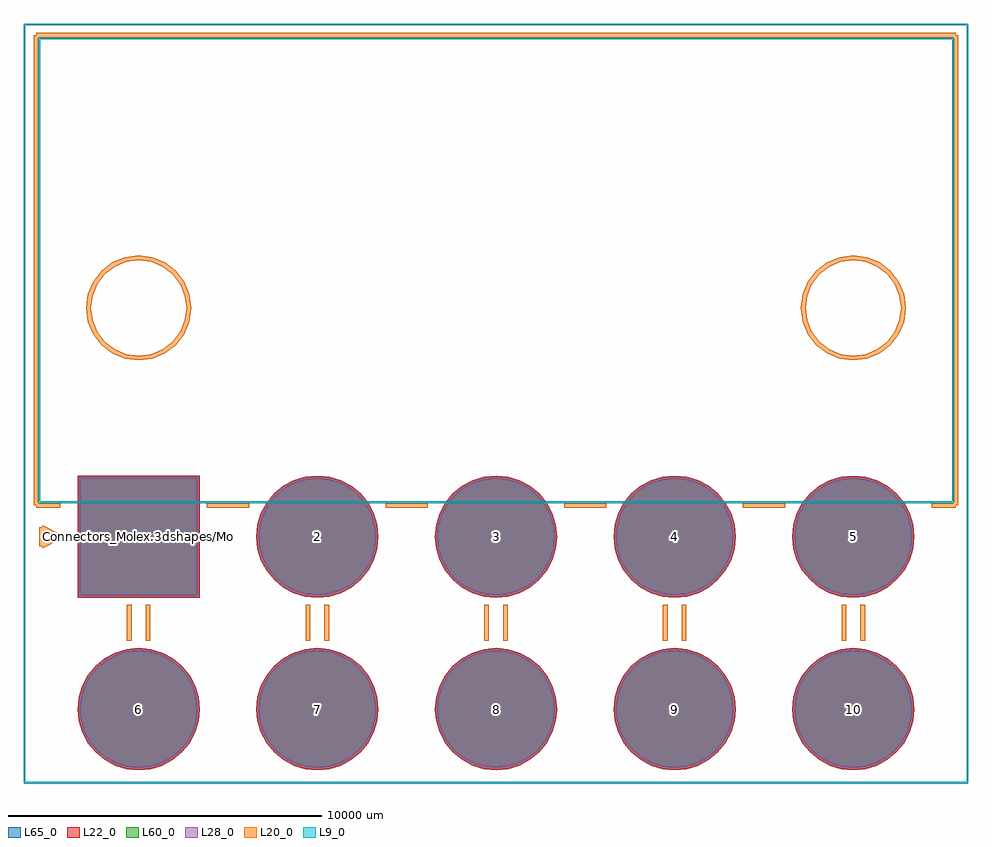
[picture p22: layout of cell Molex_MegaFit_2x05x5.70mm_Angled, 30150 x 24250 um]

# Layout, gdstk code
import gdstk
lib = gdstk.Library(unit=1e-6, precision=1e-09)
def R(c, l, rs):  # rectangles x0, y0, x1, y1
    for r in rs: c.add(gdstk.rectangle(r[:2], r[2:], *l))
def P(c, l, *ps):  # polygons
    for p in ps: c.add(gdstk.Polygon(p, *l))
L9_0 = (9, 0)
L20_0 = (20, 0)
L22_0 = (22, 0)
L28_0 = (28, 0)
L60_0 = (60, 0)
L65_0 = (65, 0)

molex_megafit_2x05x5_70m = lib.new_cell('Molex_MegaFit_2x05x5.70mm_Angled')
R(molex_megafit_2x05x5_70m, L22_0, [(-1950,-1950,1950,1950)])
P(molex_megafit_2x05x5_70m, L22_0, [(24750,-5500),(24712.531,-5119.574),(24601.565,-4753.767),(24421.366,-4416.638),(24178.858,-4121.142),(23883.362,-3878.634),(23546.233,-3698.435),(23180.426,-3587.469),(22800,-3550),(22419.574,-3587.469),(22053.767,-3698.435),(21716.638,-3878.634),(21421.142,-4121.142),(21178.634,-4416.638),(20998.435,-4753.767),(20887.469,-5119.574),(20850,-5500),(20887.469,-5880.426),(20998.435,-6246.233),(21178.634,-6583.362),(21421.142,-6878.858),(21716.638,-7121.366),(22053.767,-7301.565),(22419.574,-7412.531),(22800,-7450),(23180.426,-7412.531),(23546.233,-7301.565),(23883.362,-7121.366),(24178.858,-6878.858),(24421.366,-6583.362),(24601.565,-6246.233),(24712.531,-5880.426)],
  [(19050,-5500),(19012.531,-5119.574),(18901.565,-4753.767),(18721.366,-4416.638),(18478.858,-4121.142),(18183.362,-3878.634),(17846.233,-3698.435),(17480.426,-3587.469),(17100,-3550),(16719.574,-3587.469),(16353.767,-3698.435),(16016.638,-3878.634),(15721.142,-4121.142),(15478.634,-4416.638),(15298.435,-4753.767),(15187.469,-5119.574),(15150,-5500),(15187.469,-5880.426),(15298.435,-6246.233),(15478.634,-6583.362),(15721.142,-6878.858),(16016.638,-7121.366),(16353.767,-7301.565),(16719.574,-7412.531),(17100,-7450),(17480.426,-7412.531),(17846.233,-7301.565),(18183.362,-7121.366),(18478.858,-6878.858),(18721.366,-6583.362),(18901.565,-6246.233),(19012.531,-5880.426)],
  [(13350,-5500),(13312.531,-5119.574),(13201.565,-4753.767),(13021.366,-4416.638),(12778.858,-4121.142),(12483.362,-3878.634),(12146.233,-3698.435),(11780.426,-3587.469),(11400,-3550),(11019.574,-3587.469),(10653.767,-3698.435),(10316.638,-3878.634),(10021.142,-4121.142),(9778.634,-4416.638),(9598.435,-4753.767),(9487.469,-5119.574),(9450,-5500),(9487.469,-5880.426),(9598.435,-6246.233),(9778.634,-6583.362),(10021.142,-6878.858),(10316.638,-7121.366),(10653.767,-7301.565),(11019.574,-7412.531),(11400,-7450),(11780.426,-7412.531),(12146.233,-7301.565),(12483.362,-7121.366),(12778.858,-6878.858),(13021.366,-6583.362),(13201.565,-6246.233),(13312.531,-5880.426)],
  [(7650,-5500),(7612.531,-5119.574),(7501.565,-4753.767),(7321.366,-4416.638),(7078.858,-4121.142),(6783.362,-3878.634),(6446.233,-3698.435),(6080.426,-3587.469),(5700,-3550),(5319.574,-3587.469),(4953.767,-3698.435),(4616.638,-3878.634),(4321.142,-4121.142),(4078.634,-4416.638),(3898.435,-4753.767),(3787.469,-5119.574),(3750,-5500),(3787.469,-5880.426),(3898.435,-6246.233),(4078.634,-6583.362),(4321.142,-6878.858),(4616.638,-7121.366),(4953.767,-7301.565),(5319.574,-7412.531),(5700,-7450),(6080.426,-7412.531),(6446.233,-7301.565),(6783.362,-7121.366),(7078.858,-6878.858),(7321.366,-6583.362),(7501.565,-6246.233),(7612.531,-5880.426)],
  [(1950,-5500),(1912.531,-5119.574),(1801.565,-4753.767),(1621.366,-4416.638),(1378.858,-4121.142),(1083.362,-3878.634),(746.233,-3698.435),(380.426,-3587.469),(0,-3550),(-380.426,-3587.469),(-746.233,-3698.435),(-1083.362,-3878.634),(-1378.858,-4121.142),(-1621.366,-4416.638),(-1801.565,-4753.767),(-1912.531,-5119.574),(-1950,-5500),(-1912.531,-5880.426),(-1801.565,-6246.233),(-1621.366,-6583.362),(-1378.858,-6878.858),(-1083.362,-7121.366),(-746.233,-7301.565),(-380.426,-7412.531),(0,-7450),(380.426,-7412.531),(746.233,-7301.565),(1083.362,-7121.366),(1378.858,-6878.858),(1621.366,-6583.362),(1801.565,-6246.233),(1912.531,-5880.426)],
  [(24750,0),(24712.531,380.426),(24601.565,746.233),(24421.366,1083.362),(24178.858,1378.858),(23883.362,1621.366),(23546.233,1801.565),(23180.426,1912.531),(22800,1950),(22419.574,1912.531),(22053.767,1801.565),(21716.638,1621.366),(21421.142,1378.858),(21178.634,1083.362),(20998.435,746.233),(20887.469,380.426),(20850,0),(20887.469,-380.426),(20998.435,-746.233),(21178.634,-1083.362),(21421.142,-1378.858),(21716.638,-1621.366),(22053.767,-1801.565),(22419.574,-1912.531),(22800,-1950),(23180.426,-1912.531),(23546.233,-1801.565),(23883.362,-1621.366),(24178.858,-1378.858),(24421.366,-1083.362),(24601.565,-746.233),(24712.531,-380.426)],
  [(19050,0),(19012.531,380.426),(18901.565,746.233),(18721.366,1083.362),(18478.858,1378.858),(18183.362,1621.366),(17846.233,1801.565),(17480.426,1912.531),(17100,1950),(16719.574,1912.531),(16353.767,1801.565),(16016.638,1621.366),(15721.142,1378.858),(15478.634,1083.362),(15298.435,746.233),(15187.469,380.426),(15150,0),(15187.469,-380.426),(15298.435,-746.233),(15478.634,-1083.362),(15721.142,-1378.858),(16016.638,-1621.366),(16353.767,-1801.565),(16719.574,-1912.531),(17100,-1950),(17480.426,-1912.531),(17846.233,-1801.565),(18183.362,-1621.366),(18478.858,-1378.858),(18721.366,-1083.362),(18901.565,-746.233),(19012.531,-380.426)],
  [(13350,0),(13312.531,380.426),(13201.565,746.233),(13021.366,1083.362),(12778.858,1378.858),(12483.362,1621.366),(12146.233,1801.565),(11780.426,1912.531),(11400,1950),(11019.574,1912.531),(10653.767,1801.565),(10316.638,1621.366),(10021.142,1378.858),(9778.634,1083.362),(9598.435,746.233),(9487.469,380.426),(9450,0),(9487.469,-380.426),(9598.435,-746.233),(9778.634,-1083.362),(10021.142,-1378.858),(10316.638,-1621.366),(10653.767,-1801.565),(11019.574,-1912.531),(11400,-1950),(11780.426,-1912.531),(12146.233,-1801.565),(12483.362,-1621.366),(12778.858,-1378.858),(13021.366,-1083.362),(13201.565,-746.233),(13312.531,-380.426)],
  [(7650,0),(7612.531,380.426),(7501.565,746.233),(7321.366,1083.362),(7078.858,1378.858),(6783.362,1621.366),(6446.233,1801.565),(6080.426,1912.531),(5700,1950),(5319.574,1912.531),(4953.767,1801.565),(4616.638,1621.366),(4321.142,1378.858),(4078.634,1083.362),(3898.435,746.233),(3787.469,380.426),(3750,0),(3787.469,-380.426),(3898.435,-746.233),(4078.634,-1083.362),(4321.142,-1378.858),(4616.638,-1621.366),(4953.767,-1801.565),(5319.574,-1912.531),(5700,-1950),(6080.426,-1912.531),(6446.233,-1801.565),(6783.362,-1621.366),(7078.858,-1378.858),(7321.366,-1083.362),(7501.565,-746.233),(7612.531,-380.426)])
R(molex_megafit_2x05x5_70m, L28_0, [(-1875,-1875,1875,1875)])
P(molex_megafit_2x05x5_70m, L28_0, [(24675,-5500),(24638.972,-5134.206),(24532.274,-4782.469),(24359.006,-4458.306),(24125.825,-4174.175),(23841.694,-3940.994),(23517.531,-3767.726),(23165.794,-3661.028),(22800,-3625),(22434.206,-3661.028),(22082.469,-3767.726),(21758.306,-3940.994),(21474.175,-4174.175),(21240.994,-4458.306),(21067.726,-4782.469),(20961.028,-5134.206),(20925,-5500),(20961.028,-5865.794),(21067.726,-6217.531),(21240.994,-6541.694),(21474.175,-6825.825),(21758.306,-7059.006),(22082.469,-7232.274),(22434.206,-7338.972),(22800,-7375),(23165.794,-7338.972),(23517.531,-7232.274),(23841.694,-7059.006),(24125.825,-6825.825),(24359.006,-6541.694),(24532.274,-6217.531),(24638.972,-5865.794)],
  [(18975,-5500),(18938.972,-5134.206),(18832.274,-4782.469),(18659.006,-4458.306),(18425.825,-4174.175),(18141.694,-3940.994),(17817.531,-3767.726),(17465.794,-3661.028),(17100,-3625),(16734.206,-3661.028),(16382.469,-3767.726),(16058.306,-3940.994),(15774.175,-4174.175),(15540.994,-4458.306),(15367.726,-4782.469),(15261.028,-5134.206),(15225,-5500),(15261.028,-5865.794),(15367.726,-6217.531),(15540.994,-6541.694),(15774.175,-6825.825),(16058.306,-7059.006),(16382.469,-7232.274),(16734.206,-7338.972),(17100,-7375),(17465.794,-7338.972),(17817.531,-7232.274),(18141.694,-7059.006),(18425.825,-6825.825),(18659.006,-6541.694),(18832.274,-6217.531),(18938.972,-5865.794)],
  [(13275,-5500),(13238.972,-5134.206),(13132.274,-4782.469),(12959.006,-4458.306),(12725.825,-4174.175),(12441.694,-3940.994),(12117.531,-3767.726),(11765.794,-3661.028),(11400,-3625),(11034.206,-3661.028),(10682.469,-3767.726),(10358.306,-3940.994),(10074.175,-4174.175),(9840.994,-4458.306),(9667.726,-4782.469),(9561.028,-5134.206),(9525,-5500),(9561.028,-5865.794),(9667.726,-6217.531),(9840.994,-6541.694),(10074.175,-6825.825),(10358.306,-7059.006),(10682.469,-7232.274),(11034.206,-7338.972),(11400,-7375),(11765.794,-7338.972),(12117.531,-7232.274),(12441.694,-7059.006),(12725.825,-6825.825),(12959.006,-6541.694),(13132.274,-6217.531),(13238.972,-5865.794)],
  [(7575,-5500),(7538.972,-5134.206),(7432.274,-4782.469),(7259.006,-4458.306),(7025.825,-4174.175),(6741.694,-3940.994),(6417.531,-3767.726),(6065.794,-3661.028),(5700,-3625),(5334.206,-3661.028),(4982.469,-3767.726),(4658.306,-3940.994),(4374.175,-4174.175),(4140.994,-4458.306),(3967.726,-4782.469),(3861.028,-5134.206),(3825,-5500),(3861.028,-5865.794),(3967.726,-6217.531),(4140.994,-6541.694),(4374.175,-6825.825),(4658.306,-7059.006),(4982.469,-7232.274),(5334.206,-7338.972),(5700,-7375),(6065.794,-7338.972),(6417.531,-7232.274),(6741.694,-7059.006),(7025.825,-6825.825),(7259.006,-6541.694),(7432.274,-6217.531),(7538.972,-5865.794)],
  [(1875,-5500),(1838.972,-5134.206),(1732.274,-4782.469),(1559.006,-4458.306),(1325.825,-4174.175),(1041.694,-3940.994),(717.531,-3767.726),(365.794,-3661.028),(0,-3625),(-365.794,-3661.028),(-717.531,-3767.726),(-1041.694,-3940.994),(-1325.825,-4174.175),(-1559.006,-4458.306),(-1732.274,-4782.469),(-1838.972,-5134.206),(-1875,-5500),(-1838.972,-5865.794),(-1732.274,-6217.531),(-1559.006,-6541.694),(-1325.825,-6825.825),(-1041.694,-7059.006),(-717.531,-7232.274),(-365.794,-7338.972),(0,-7375),(365.794,-7338.972),(717.531,-7232.274),(1041.694,-7059.006),(1325.825,-6825.825),(1559.006,-6541.694),(1732.274,-6217.531),(1838.972,-5865.794)],
  [(24675,0),(24638.972,365.794),(24532.274,717.531),(24359.006,1041.694),(24125.825,1325.825),(23841.694,1559.006),(23517.531,1732.274),(23165.794,1838.972),(22800,1875),(22434.206,1838.972),(22082.469,1732.274),(21758.306,1559.006),(21474.175,1325.825),(21240.994,1041.694),(21067.726,717.531),(20961.028,365.794),(20925,0),(20961.028,-365.794),(21067.726,-717.531),(21240.994,-1041.694),(21474.175,-1325.825),(21758.306,-1559.006),(22082.469,-1732.274),(22434.206,-1838.972),(22800,-1875),(23165.794,-1838.972),(23517.531,-1732.274),(23841.694,-1559.006),(24125.825,-1325.825),(24359.006,-1041.694),(24532.274,-717.531),(24638.972,-365.794)],
  [(18975,0),(18938.972,365.794),(18832.274,717.531),(18659.006,1041.694),(18425.825,1325.825),(18141.694,1559.006),(17817.531,1732.274),(17465.794,1838.972),(17100,1875),(16734.206,1838.972),(16382.469,1732.274),(16058.306,1559.006),(15774.175,1325.825),(15540.994,1041.694),(15367.726,717.531),(15261.028,365.794),(15225,0),(15261.028,-365.794),(15367.726,-717.531),(15540.994,-1041.694),(15774.175,-1325.825),(16058.306,-1559.006),(16382.469,-1732.274),(16734.206,-1838.972),(17100,-1875),(17465.794,-1838.972),(17817.531,-1732.274),(18141.694,-1559.006),(18425.825,-1325.825),(18659.006,-1041.694),(18832.274,-717.531),(18938.972,-365.794)],
  [(13275,0),(13238.972,365.794),(13132.274,717.531),(12959.006,1041.694),(12725.825,1325.825),(12441.694,1559.006),(12117.531,1732.274),(11765.794,1838.972),(11400,1875),(11034.206,1838.972),(10682.469,1732.274),(10358.306,1559.006),(10074.175,1325.825),(9840.994,1041.694),(9667.726,717.531),(9561.028,365.794),(9525,0),(9561.028,-365.794),(9667.726,-717.531),(9840.994,-1041.694),(10074.175,-1325.825),(10358.306,-1559.006),(10682.469,-1732.274),(11034.206,-1838.972),(11400,-1875),(11765.794,-1838.972),(12117.531,-1732.274),(12441.694,-1559.006),(12725.825,-1325.825),(12959.006,-1041.694),(13132.274,-717.531),(13238.972,-365.794)],
  [(7575,0),(7538.972,365.794),(7432.274,717.531),(7259.006,1041.694),(7025.825,1325.825),(6741.694,1559.006),(6417.531,1732.274),(6065.794,1838.972),(5700,1875),(5334.206,1838.972),(4982.469,1732.274),(4658.306,1559.006),(4374.175,1325.825),(4140.994,1041.694),(3967.726,717.531),(3861.028,365.794),(3825,0),(3861.028,-365.794),(3967.726,-717.531),(4140.994,-1041.694),(4374.175,-1325.825),(4658.306,-1559.006),(4982.469,-1732.274),(5334.206,-1838.972),(5700,-1875),(6065.794,-1838.972),(6417.531,-1732.274),(6741.694,-1559.006),(7025.825,-1325.825),(7259.006,-1041.694),(7432.274,-717.531),(7538.972,-365.794)])
R(molex_megafit_2x05x5_70m, L60_0, [(-1875,-1875,1875,1875)])
P(molex_megafit_2x05x5_70m, L60_0, [(24675,-5500),(24638.972,-5134.206),(24532.274,-4782.469),(24359.006,-4458.306),(24125.825,-4174.175),(23841.694,-3940.994),(23517.531,-3767.726),(23165.794,-3661.028),(22800,-3625),(22434.206,-3661.028),(22082.469,-3767.726),(21758.306,-3940.994),(21474.175,-4174.175),(21240.994,-4458.306),(21067.726,-4782.469),(20961.028,-5134.206),(20925,-5500),(20961.028,-5865.794),(21067.726,-6217.531),(21240.994,-6541.694),(21474.175,-6825.825),(21758.306,-7059.006),(22082.469,-7232.274),(22434.206,-7338.972),(22800,-7375),(23165.794,-7338.972),(23517.531,-7232.274),(23841.694,-7059.006),(24125.825,-6825.825),(24359.006,-6541.694),(24532.274,-6217.531),(24638.972,-5865.794)],
  [(18975,-5500),(18938.972,-5134.206),(18832.274,-4782.469),(18659.006,-4458.306),(18425.825,-4174.175),(18141.694,-3940.994),(17817.531,-3767.726),(17465.794,-3661.028),(17100,-3625),(16734.206,-3661.028),(16382.469,-3767.726),(16058.306,-3940.994),(15774.175,-4174.175),(15540.994,-4458.306),(15367.726,-4782.469),(15261.028,-5134.206),(15225,-5500),(15261.028,-5865.794),(15367.726,-6217.531),(15540.994,-6541.694),(15774.175,-6825.825),(16058.306,-7059.006),(16382.469,-7232.274),(16734.206,-7338.972),(17100,-7375),(17465.794,-7338.972),(17817.531,-7232.274),(18141.694,-7059.006),(18425.825,-6825.825),(18659.006,-6541.694),(18832.274,-6217.531),(18938.972,-5865.794)],
  [(13275,-5500),(13238.972,-5134.206),(13132.274,-4782.469),(12959.006,-4458.306),(12725.825,-4174.175),(12441.694,-3940.994),(12117.531,-3767.726),(11765.794,-3661.028),(11400,-3625),(11034.206,-3661.028),(10682.469,-3767.726),(10358.306,-3940.994),(10074.175,-4174.175),(9840.994,-4458.306),(9667.726,-4782.469),(9561.028,-5134.206),(9525,-5500),(9561.028,-5865.794),(9667.726,-6217.531),(9840.994,-6541.694),(10074.175,-6825.825),(10358.306,-7059.006),(10682.469,-7232.274),(11034.206,-7338.972),(11400,-7375),(11765.794,-7338.972),(12117.531,-7232.274),(12441.694,-7059.006),(12725.825,-6825.825),(12959.006,-6541.694),(13132.274,-6217.531),(13238.972,-5865.794)],
  [(7575,-5500),(7538.972,-5134.206),(7432.274,-4782.469),(7259.006,-4458.306),(7025.825,-4174.175),(6741.694,-3940.994),(6417.531,-3767.726),(6065.794,-3661.028),(5700,-3625),(5334.206,-3661.028),(4982.469,-3767.726),(4658.306,-3940.994),(4374.175,-4174.175),(4140.994,-4458.306),(3967.726,-4782.469),(3861.028,-5134.206),(3825,-5500),(3861.028,-5865.794),(3967.726,-6217.531),(4140.994,-6541.694),(4374.175,-6825.825),(4658.306,-7059.006),(4982.469,-7232.274),(5334.206,-7338.972),(5700,-7375),(6065.794,-7338.972),(6417.531,-7232.274),(6741.694,-7059.006),(7025.825,-6825.825),(7259.006,-6541.694),(7432.274,-6217.531),(7538.972,-5865.794)],
  [(1875,-5500),(1838.972,-5134.206),(1732.274,-4782.469),(1559.006,-4458.306),(1325.825,-4174.175),(1041.694,-3940.994),(717.531,-3767.726),(365.794,-3661.028),(0,-3625),(-365.794,-3661.028),(-717.531,-3767.726),(-1041.694,-3940.994),(-1325.825,-4174.175),(-1559.006,-4458.306),(-1732.274,-4782.469),(-1838.972,-5134.206),(-1875,-5500),(-1838.972,-5865.794),(-1732.274,-6217.531),(-1559.006,-6541.694),(-1325.825,-6825.825),(-1041.694,-7059.006),(-717.531,-7232.274),(-365.794,-7338.972),(0,-7375),(365.794,-7338.972),(717.531,-7232.274),(1041.694,-7059.006),(1325.825,-6825.825),(1559.006,-6541.694),(1732.274,-6217.531),(1838.972,-5865.794)],
  [(24675,0),(24638.972,365.794),(24532.274,717.531),(24359.006,1041.694),(24125.825,1325.825),(23841.694,1559.006),(23517.531,1732.274),(23165.794,1838.972),(22800,1875),(22434.206,1838.972),(22082.469,1732.274),(21758.306,1559.006),(21474.175,1325.825),(21240.994,1041.694),(21067.726,717.531),(20961.028,365.794),(20925,0),(20961.028,-365.794),(21067.726,-717.531),(21240.994,-1041.694),(21474.175,-1325.825),(21758.306,-1559.006),(22082.469,-1732.274),(22434.206,-1838.972),(22800,-1875),(23165.794,-1838.972),(23517.531,-1732.274),(23841.694,-1559.006),(24125.825,-1325.825),(24359.006,-1041.694),(24532.274,-717.531),(24638.972,-365.794)],
  [(18975,0),(18938.972,365.794),(18832.274,717.531),(18659.006,1041.694),(18425.825,1325.825),(18141.694,1559.006),(17817.531,1732.274),(17465.794,1838.972),(17100,1875),(16734.206,1838.972),(16382.469,1732.274),(16058.306,1559.006),(15774.175,1325.825),(15540.994,1041.694),(15367.726,717.531),(15261.028,365.794),(15225,0),(15261.028,-365.794),(15367.726,-717.531),(15540.994,-1041.694),(15774.175,-1325.825),(16058.306,-1559.006),(16382.469,-1732.274),(16734.206,-1838.972),(17100,-1875),(17465.794,-1838.972),(17817.531,-1732.274),(18141.694,-1559.006),(18425.825,-1325.825),(18659.006,-1041.694),(18832.274,-717.531),(18938.972,-365.794)],
  [(13275,0),(13238.972,365.794),(13132.274,717.531),(12959.006,1041.694),(12725.825,1325.825),(12441.694,1559.006),(12117.531,1732.274),(11765.794,1838.972),(11400,1875),(11034.206,1838.972),(10682.469,1732.274),(10358.306,1559.006),(10074.175,1325.825),(9840.994,1041.694),(9667.726,717.531),(9561.028,365.794),(9525,0),(9561.028,-365.794),(9667.726,-717.531),(9840.994,-1041.694),(10074.175,-1325.825),(10358.306,-1559.006),(10682.469,-1732.274),(11034.206,-1838.972),(11400,-1875),(11765.794,-1838.972),(12117.531,-1732.274),(12441.694,-1559.006),(12725.825,-1325.825),(12959.006,-1041.694),(13132.274,-717.531),(13238.972,-365.794)],
  [(7575,0),(7538.972,365.794),(7432.274,717.531),(7259.006,1041.694),(7025.825,1325.825),(6741.694,1559.006),(6417.531,1732.274),(6065.794,1838.972),(5700,1875),(5334.206,1838.972),(4982.469,1732.274),(4658.306,1559.006),(4374.175,1325.825),(4140.994,1041.694),(3967.726,717.531),(3861.028,365.794),(3825,0),(3861.028,-365.794),(3967.726,-717.531),(4140.994,-1041.694),(4374.175,-1325.825),(4658.306,-1559.006),(4982.469,-1732.274),(5334.206,-1838.972),(5700,-1875),(6065.794,-1838.972),(6417.531,-1732.274),(6741.694,-1559.006),(7025.825,-1325.825),(7259.006,-1041.694),(7432.274,-717.531),(7538.972,-365.794)])
R(molex_megafit_2x05x5_70m, L65_0, [(-1950,-1950,1950,1950)])
P(molex_megafit_2x05x5_70m, L65_0, [(24750,-5500),(24712.531,-5119.574),(24601.565,-4753.767),(24421.366,-4416.638),(24178.858,-4121.142),(23883.362,-3878.634),(23546.233,-3698.435),(23180.426,-3587.469),(22800,-3550),(22419.574,-3587.469),(22053.767,-3698.435),(21716.638,-3878.634),(21421.142,-4121.142),(21178.634,-4416.638),(20998.435,-4753.767),(20887.469,-5119.574),(20850,-5500),(20887.469,-5880.426),(20998.435,-6246.233),(21178.634,-6583.362),(21421.142,-6878.858),(21716.638,-7121.366),(22053.767,-7301.565),(22419.574,-7412.531),(22800,-7450),(23180.426,-7412.531),(23546.233,-7301.565),(23883.362,-7121.366),(24178.858,-6878.858),(24421.366,-6583.362),(24601.565,-6246.233),(24712.531,-5880.426)],
  [(19050,-5500),(19012.531,-5119.574),(18901.565,-4753.767),(18721.366,-4416.638),(18478.858,-4121.142),(18183.362,-3878.634),(17846.233,-3698.435),(17480.426,-3587.469),(17100,-3550),(16719.574,-3587.469),(16353.767,-3698.435),(16016.638,-3878.634),(15721.142,-4121.142),(15478.634,-4416.638),(15298.435,-4753.767),(15187.469,-5119.574),(15150,-5500),(15187.469,-5880.426),(15298.435,-6246.233),(15478.634,-6583.362),(15721.142,-6878.858),(16016.638,-7121.366),(16353.767,-7301.565),(16719.574,-7412.531),(17100,-7450),(17480.426,-7412.531),(17846.233,-7301.565),(18183.362,-7121.366),(18478.858,-6878.858),(18721.366,-6583.362),(18901.565,-6246.233),(19012.531,-5880.426)],
  [(13350,-5500),(13312.531,-5119.574),(13201.565,-4753.767),(13021.366,-4416.638),(12778.858,-4121.142),(12483.362,-3878.634),(12146.233,-3698.435),(11780.426,-3587.469),(11400,-3550),(11019.574,-3587.469),(10653.767,-3698.435),(10316.638,-3878.634),(10021.142,-4121.142),(9778.634,-4416.638),(9598.435,-4753.767),(9487.469,-5119.574),(9450,-5500),(9487.469,-5880.426),(9598.435,-6246.233),(9778.634,-6583.362),(10021.142,-6878.858),(10316.638,-7121.366),(10653.767,-7301.565),(11019.574,-7412.531),(11400,-7450),(11780.426,-7412.531),(12146.233,-7301.565),(12483.362,-7121.366),(12778.858,-6878.858),(13021.366,-6583.362),(13201.565,-6246.233),(13312.531,-5880.426)],
  [(7650,-5500),(7612.531,-5119.574),(7501.565,-4753.767),(7321.366,-4416.638),(7078.858,-4121.142),(6783.362,-3878.634),(6446.233,-3698.435),(6080.426,-3587.469),(5700,-3550),(5319.574,-3587.469),(4953.767,-3698.435),(4616.638,-3878.634),(4321.142,-4121.142),(4078.634,-4416.638),(3898.435,-4753.767),(3787.469,-5119.574),(3750,-5500),(3787.469,-5880.426),(3898.435,-6246.233),(4078.634,-6583.362),(4321.142,-6878.858),(4616.638,-7121.366),(4953.767,-7301.565),(5319.574,-7412.531),(5700,-7450),(6080.426,-7412.531),(6446.233,-7301.565),(6783.362,-7121.366),(7078.858,-6878.858),(7321.366,-6583.362),(7501.565,-6246.233),(7612.531,-5880.426)],
  [(1950,-5500),(1912.531,-5119.574),(1801.565,-4753.767),(1621.366,-4416.638),(1378.858,-4121.142),(1083.362,-3878.634),(746.233,-3698.435),(380.426,-3587.469),(0,-3550),(-380.426,-3587.469),(-746.233,-3698.435),(-1083.362,-3878.634),(-1378.858,-4121.142),(-1621.366,-4416.638),(-1801.565,-4753.767),(-1912.531,-5119.574),(-1950,-5500),(-1912.531,-5880.426),(-1801.565,-6246.233),(-1621.366,-6583.362),(-1378.858,-6878.858),(-1083.362,-7121.366),(-746.233,-7301.565),(-380.426,-7412.531),(0,-7450),(380.426,-7412.531),(746.233,-7301.565),(1083.362,-7121.366),(1378.858,-6878.858),(1621.366,-6583.362),(1801.565,-6246.233),(1912.531,-5880.426)],
  [(24750,0),(24712.531,380.426),(24601.565,746.233),(24421.366,1083.362),(24178.858,1378.858),(23883.362,1621.366),(23546.233,1801.565),(23180.426,1912.531),(22800,1950),(22419.574,1912.531),(22053.767,1801.565),(21716.638,1621.366),(21421.142,1378.858),(21178.634,1083.362),(20998.435,746.233),(20887.469,380.426),(20850,0),(20887.469,-380.426),(20998.435,-746.233),(21178.634,-1083.362),(21421.142,-1378.858),(21716.638,-1621.366),(22053.767,-1801.565),(22419.574,-1912.531),(22800,-1950),(23180.426,-1912.531),(23546.233,-1801.565),(23883.362,-1621.366),(24178.858,-1378.858),(24421.366,-1083.362),(24601.565,-746.233),(24712.531,-380.426)],
  [(19050,0),(19012.531,380.426),(18901.565,746.233),(18721.366,1083.362),(18478.858,1378.858),(18183.362,1621.366),(17846.233,1801.565),(17480.426,1912.531),(17100,1950),(16719.574,1912.531),(16353.767,1801.565),(16016.638,1621.366),(15721.142,1378.858),(15478.634,1083.362),(15298.435,746.233),(15187.469,380.426),(15150,0),(15187.469,-380.426),(15298.435,-746.233),(15478.634,-1083.362),(15721.142,-1378.858),(16016.638,-1621.366),(16353.767,-1801.565),(16719.574,-1912.531),(17100,-1950),(17480.426,-1912.531),(17846.233,-1801.565),(18183.362,-1621.366),(18478.858,-1378.858),(18721.366,-1083.362),(18901.565,-746.233),(19012.531,-380.426)],
  [(13350,0),(13312.531,380.426),(13201.565,746.233),(13021.366,1083.362),(12778.858,1378.858),(12483.362,1621.366),(12146.233,1801.565),(11780.426,1912.531),(11400,1950),(11019.574,1912.531),(10653.767,1801.565),(10316.638,1621.366),(10021.142,1378.858),(9778.634,1083.362),(9598.435,746.233),(9487.469,380.426),(9450,0),(9487.469,-380.426),(9598.435,-746.233),(9778.634,-1083.362),(10021.142,-1378.858),(10316.638,-1621.366),(10653.767,-1801.565),(11019.574,-1912.531),(11400,-1950),(11780.426,-1912.531),(12146.233,-1801.565),(12483.362,-1621.366),(12778.858,-1378.858),(13021.366,-1083.362),(13201.565,-746.233),(13312.531,-380.426)],
  [(7650,0),(7612.531,380.426),(7501.565,746.233),(7321.366,1083.362),(7078.858,1378.858),(6783.362,1621.366),(6446.233,1801.565),(6080.426,1912.531),(5700,1950),(5319.574,1912.531),(4953.767,1801.565),(4616.638,1621.366),(4321.142,1378.858),(4078.634,1083.362),(3898.435,746.233),(3787.469,380.426),(3750,0),(3787.469,-380.426),(3898.435,-746.233),(4078.634,-1083.362),(4321.142,-1378.858),(4616.638,-1621.366),(4953.767,-1801.565),(5319.574,-1912.531),(5700,-1950),(6080.426,-1912.531),(6446.233,-1801.565),(6783.362,-1621.366),(7078.858,-1378.858),(7321.366,-1083.362),(7501.565,-746.233),(7612.531,-380.426)])
molex_megafit_2x05x5_70m.add(gdstk.FlexPath([(26450,16350),(-3650,16350)], 50, ends="flush", simple_path=True, layer=9, datatype=0))  # L9_0
molex_megafit_2x05x5_70m.add(gdstk.FlexPath([(26450,-7850),(26450,16350)], 50, ends="flush", simple_path=True, layer=9, datatype=0))  # L9_0
molex_megafit_2x05x5_70m.add(gdstk.FlexPath([(-3650,-7850),(26450,-7850)], 50, ends="flush", simple_path=True, layer=9, datatype=0))  # L9_0
molex_megafit_2x05x5_70m.add(gdstk.FlexPath([(-3650,16350),(-3650,-7850)], 50, ends="flush", simple_path=True, layer=9, datatype=0))  # L9_0
molex_megafit_2x05x5_70m.add(gdstk.FlexPath([(-3100,300),(-2500,0)], 149.998, ends="flush", simple_path=True, layer=20, datatype=0))  # L20_0
molex_megafit_2x05x5_70m.add(gdstk.FlexPath([(-3100,-300),(-3100,300)], 149.998, ends="flush", simple_path=True, layer=20, datatype=0))  # L20_0
molex_megafit_2x05x5_70m.add(gdstk.FlexPath([(-2500,0),(-3100,-300)], 149.998, ends="flush", simple_path=True, layer=20, datatype=0))  # L20_0
molex_megafit_2x05x5_70m.add(gdstk.FlexPath([(23100,-2175),(23100,-3325)], 149.998, ends="flush", simple_path=True, layer=20, datatype=0))  # L20_0
molex_megafit_2x05x5_70m.add(gdstk.FlexPath([(22500,-2175),(22500,-3325)], 149.998, ends="flush", simple_path=True, layer=20, datatype=0))  # L20_0
molex_megafit_2x05x5_70m.add(gdstk.FlexPath([(17400,-2175),(17400,-3325)], 149.998, ends="flush", simple_path=True, layer=20, datatype=0))  # L20_0
molex_megafit_2x05x5_70m.add(gdstk.FlexPath([(16800,-2175),(16800,-3325)], 149.998, ends="flush", simple_path=True, layer=20, datatype=0))  # L20_0
molex_megafit_2x05x5_70m.add(gdstk.FlexPath([(11700,-2175),(11700,-3325)], 149.998, ends="flush", simple_path=True, layer=20, datatype=0))  # L20_0
molex_megafit_2x05x5_70m.add(gdstk.FlexPath([(11100,-2175),(11100,-3325)], 149.998, ends="flush", simple_path=True, layer=20, datatype=0))  # L20_0
molex_megafit_2x05x5_70m.add(gdstk.FlexPath([(6000,-2175),(6000,-3325)], 149.998, ends="flush", simple_path=True, layer=20, datatype=0))  # L20_0
molex_megafit_2x05x5_70m.add(gdstk.FlexPath([(5400,-2175),(5400,-3325)], 149.998, ends="flush", simple_path=True, layer=20, datatype=0))  # L20_0
molex_megafit_2x05x5_70m.add(gdstk.FlexPath([(300,-2175),(300,-3325)], 149.998, ends="flush", simple_path=True, layer=20, datatype=0))  # L20_0
molex_megafit_2x05x5_70m.add(gdstk.FlexPath([(-300,-2175),(-300,-3325)], 149.998, ends="flush", simple_path=True, layer=20, datatype=0))  # L20_0
molex_megafit_2x05x5_70m.add(gdstk.FlexPath([(19275,1000),(20625,1000)], 149.998, ends="flush", simple_path=True, layer=20, datatype=0))  # L20_0
molex_megafit_2x05x5_70m.add(gdstk.FlexPath([(13575,1000),(14925,1000)], 149.998, ends="flush", simple_path=True, layer=20, datatype=0))  # L20_0
molex_megafit_2x05x5_70m.add(gdstk.FlexPath([(7875,1000),(9225,1000)], 149.998, ends="flush", simple_path=True, layer=20, datatype=0))  # L20_0
molex_megafit_2x05x5_70m.add(gdstk.FlexPath([(2175,1000),(3525,1000)], 149.998, ends="flush", simple_path=True, layer=20, datatype=0))  # L20_0
molex_megafit_2x05x5_70m.add(gdstk.FlexPath([(26075,1000),(25300,1000)], 149.998, ends="flush", simple_path=True, layer=20, datatype=0))  # L20_0
molex_megafit_2x05x5_70m.add(gdstk.FlexPath([(26075,16000),(26075,1000)], 149.998, ends="flush", simple_path=True, layer=20, datatype=0))  # L20_0
molex_megafit_2x05x5_70m.add(gdstk.FlexPath([(11400,16000),(26075,16000)], 149.998, ends="flush", simple_path=True, layer=20, datatype=0))  # L20_0
molex_megafit_2x05x5_70m.add(gdstk.FlexPath([(-3275,1000),(-2500,1000)], 149.998, ends="flush", simple_path=True, layer=20, datatype=0))  # L20_0
molex_megafit_2x05x5_70m.add(gdstk.FlexPath([(-3275,16000),(-3275,1000)], 149.998, ends="flush", simple_path=True, layer=20, datatype=0))  # L20_0
molex_megafit_2x05x5_70m.add(gdstk.FlexPath([(11400,16000),(-3275,16000)], 149.998, ends="flush", simple_path=True, layer=20, datatype=0))  # L20_0
molex_megafit_2x05x5_70m.add(gdstk.FlexPath([(25975,15900),(-3175,15900)], 50, ends="flush", simple_path=True, layer=9, datatype=0))  # L9_0
molex_megafit_2x05x5_70m.add(gdstk.FlexPath([(25975,1100),(25975,15900)], 50, ends="flush", simple_path=True, layer=9, datatype=0))  # L9_0
molex_megafit_2x05x5_70m.add(gdstk.FlexPath([(-3175,1100),(25975,1100)], 50, ends="flush", simple_path=True, layer=9, datatype=0))  # L9_0
molex_megafit_2x05x5_70m.add(gdstk.FlexPath([(-3175,15900),(-3175,1100)], 50, ends="flush", simple_path=True, layer=9, datatype=0))  # L9_0
molex_megafit_2x05x5_70m.add(gdstk.FlexPath([(24400,7300),(24345.481,7714.11),(24185.641,8100),(23931.371,8431.371),(23600,8685.641),(23214.11,8845.481),(22800,8900),(22385.89,8845.481),(22000,8685.641),(21668.629,8431.371),(21414.359,8100),(21254.519,7714.11),(21200,7300),(21254.519,6885.89),(21414.359,6500),(21668.629,6168.629),(22000,5914.359),(22385.89,5754.519),(22800,5700),(23214.11,5754.519),(23600,5914.359),(23931.371,6168.629),(24185.641,6500),(24345.481,6885.89),(24400,7300)], 149.998, ends="flush", simple_path=True, layer=20, datatype=0))  # L20_0
molex_megafit_2x05x5_70m.add(gdstk.FlexPath([(1600,7300),(1545.481,7714.11),(1385.641,8100),(1131.371,8431.371),(800,8685.641),(414.11,8845.481),(0,8900),(-414.11,8845.481),(-800,8685.641),(-1131.371,8431.371),(-1385.641,8100),(-1545.481,7714.11),(-1600,7300),(-1545.481,6885.89),(-1385.641,6500),(-1131.371,6168.629),(-800,5914.359),(-414.11,5754.519),(0,5700),(414.11,5754.519),(800,5914.359),(1131.371,6168.629),(1385.641,6500),(1545.481,6885.89),(1600,7300)], 149.998, ends="flush", simple_path=True, layer=20, datatype=0))  # L20_0
molex_megafit_2x05x5_70m.add(gdstk.Label('Connectors_Molex.3dshapes/Molex_MegaFit_2x05x5.70mm_Angled.wrl', (0,0), layer=12, texttype=0))
molex_megafit_2x05x5_70m.add(gdstk.Label('10', (22800,-5500), layer=28, texttype=0))
molex_megafit_2x05x5_70m.add(gdstk.Label('9', (17100,-5500), layer=28, texttype=0))
molex_megafit_2x05x5_70m.add(gdstk.Label('8', (11400,-5500), layer=28, texttype=0))
molex_megafit_2x05x5_70m.add(gdstk.Label('7', (5700,-5500), layer=28, texttype=0))
molex_megafit_2x05x5_70m.add(gdstk.Label('6', (0,-5500), layer=28, texttype=0))
molex_megafit_2x05x5_70m.add(gdstk.Label('5', (22800,0), layer=28, texttype=0))
molex_megafit_2x05x5_70m.add(gdstk.Label('4', (17100,0), layer=28, texttype=0))
molex_megafit_2x05x5_70m.add(gdstk.Label('3', (11400,0), layer=28, texttype=0))
molex_megafit_2x05x5_70m.add(gdstk.Label('2', (5700,0), layer=28, texttype=0))
molex_megafit_2x05x5_70m.add(gdstk.Label('1', (0,0), layer=28, texttype=0))
molex_megafit_2x05x5_70m.add(gdstk.Label('type', (11400,-10500), layer=9, texttype=0))
molex_megafit_2x05x5_70m.add(gdstk.Label('devicename', (11400,-9000), layer=9, texttype=0))

lib.write_gds('Molex_MegaFit_2x05x5.70mm_Angled.gds')
